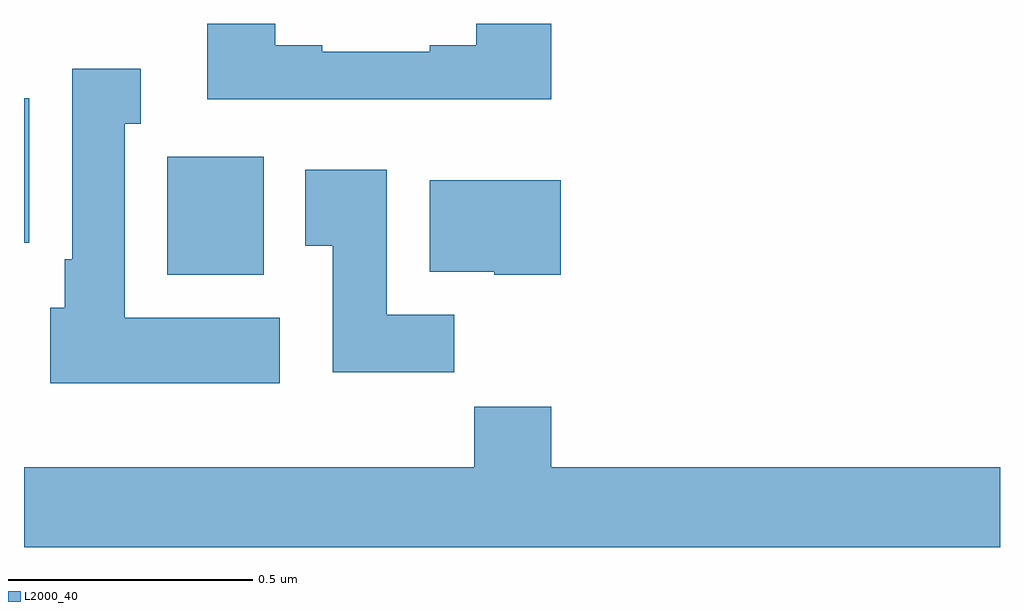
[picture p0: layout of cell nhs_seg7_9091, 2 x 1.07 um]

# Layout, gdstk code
import gdstk
lib = gdstk.Library(unit=1e-6, precision=1e-09)
def R(c, l, rs):  # rectangles x0, y0, x1, y1
    for r in rs: c.add(gdstk.rectangle(r[:2], r[2:], *l))
def P(c, l, *ps):  # polygons
    for p in ps: c.add(gdstk.Polygon(p, *l))
L2000_40 = (2000, 40)

nhs_seg7_9091 = lib.new_cell('nhs_seg7_9091')
R(nhs_seg7_9091, L2000_40, [(233.294,1022.486,233.491,1022.728), (233,1022.552,233.011,1022.848)])
P(nhs_seg7_9091, L2000_40, [(234.08,1023),(233.927,1023),(233.927,1022.956),(233.831,1022.956),(233.831,1022.943),(233.611,1022.943),(233.611,1022.956),(233.515,1022.956),(233.515,1023),(233.375,1023),(233.375,1022.846),(234.08,1022.846)],
  [(233.524,1022.398),(233.206,1022.398),(233.206,1022.795),(233.239,1022.795),(233.239,1022.908),(233.099,1022.908),(233.099,1022.518),(233.084,1022.518),(233.084,1022.418),(233.054,1022.418),(233.054,1022.264),(233.524,1022.264)],
  [(233.882,1022.404),(233.743,1022.404),(233.743,1022.701),(233.576,1022.701),(233.576,1022.545),(233.633,1022.545),(233.633,1022.286),(233.882,1022.286)],
  [(234.1,1022.68),(233.831,1022.68),(233.831,1022.492),(233.964,1022.492),(233.964,1022.486),(234.1,1022.486)],
  [(235,1022.092),(234.08,1022.092),(234.08,1022.216),(233.923,1022.216),(233.923,1022.092),(233,1022.092),(233,1021.928),(235,1021.928)])

lib.write_gds('nhs_seg7_9091.gds')
